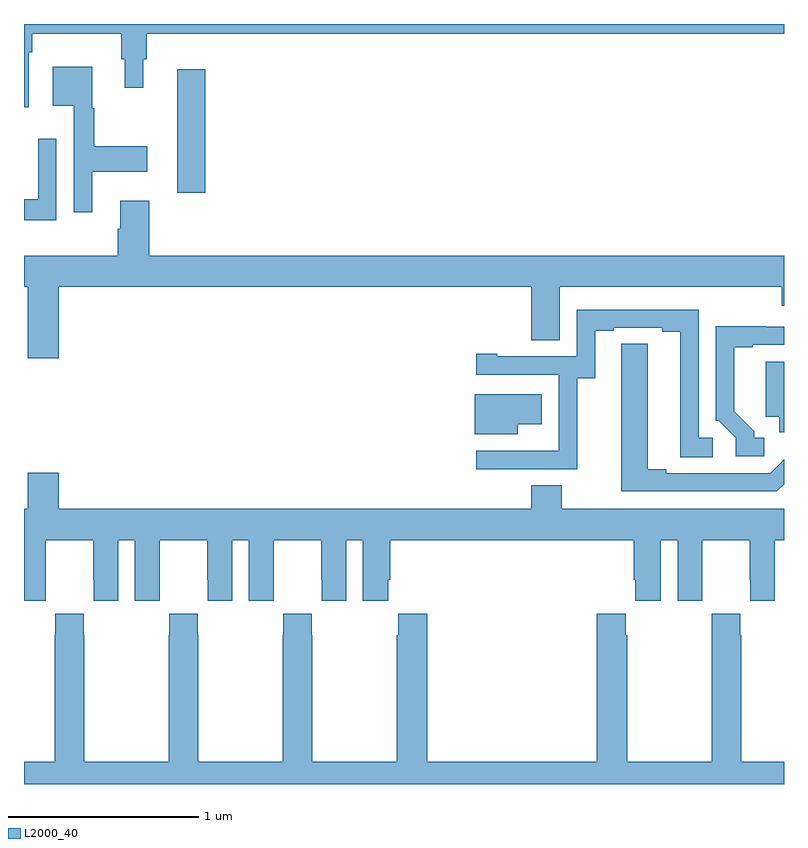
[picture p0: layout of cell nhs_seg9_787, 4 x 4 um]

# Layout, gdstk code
import gdstk
lib = gdstk.Library(unit=1e-6, precision=1e-09)
def R(c, l, rs):  # rectangles x0, y0, x1, y1
    for r in rs: c.add(gdstk.rectangle(r[:2], r[2:], *l))
def P(c, l, *ps):  # polygons
    for p in ps: c.add(gdstk.Polygon(p, *l))
L2000_40 = (2000, 40)

nhs_seg9_787 = lib.new_cell('nhs_seg9_787')
R(nhs_seg9_787, L2000_40, [(153.806,1167.612,153.953,1168.261)])
P(nhs_seg9_787, L2000_40, [(153.024,1168.352),(153.044,1168.352),(153.044,1168.448),(153.511,1168.448),(153.511,1168.314),(153.53,1168.314),(153.53,1168.164),(153.628,1168.164),(153.628,1168.314),(153.647,1168.314),(153.647,1168.448),(157,1168.448),(157,1168.5),(153,1168.5),(153,1168.062),(153.024,1168.062)],
  [(153.358,1167.722),(153.649,1167.722),(153.649,1167.857),(153.37,1167.857),(153.37,1168.056),(153.358,1168.056),(153.358,1168.276),(153.152,1168.276),(153.152,1168.07),(153.261,1168.07),(153.261,1167.51),(153.358,1167.51)],
  [(153.171,1167.895),(153.074,1167.895),(153.074,1167.577),(153,1167.577),(153,1167.468),(153.171,1167.468)],
  [(153.184,1167.116),(155.669,1167.116),(155.669,1166.836),(155.821,1166.836),(155.821,1167.116),(156.989,1167.116),(156.989,1167.018),(157,1167.018),(157,1167.28),(153.659,1167.28),(153.659,1167.571),(153.506,1167.571),(153.506,1167.422),(153.494,1167.422),(153.494,1167.28),(153,1167.28),(153,1167.116),(153.02,1167.116),(153.02,1166.742),(153.184,1166.742)],
  [(155.913,1166.635),(156.007,1166.635),(156.007,1166.886),(156.103,1166.886),(156.103,1166.901),(156.359,1166.901),(156.359,1166.881),(156.455,1166.881),(156.455,1166.221),(156.625,1166.221),(156.625,1166.322),(156.552,1166.322),(156.552,1166.997),(155.91,1166.997),(155.91,1166.751),(155.491,1166.751),(155.491,1166.764),(155.379,1166.764),(155.379,1166.655),(155.814,1166.655),(155.814,1166.254),(155.813,1166.254),(155.813,1166.253),(155.379,1166.253),(155.379,1166.157),(155.913,1166.157)],
  [(156.895,1166.322),(156.844,1166.322),(156.844,1166.357),(156.739,1166.462),(156.739,1166.799),(156.835,1166.799),(156.835,1166.811),(157,1166.811),(157,1166.907),(156.905,1166.907),(156.905,1166.909),(156.642,1166.909),(156.642,1166.412),(156.657,1166.412),(156.747,1166.322),(156.747,1166.226),(156.895,1166.226)],
  [(157,1166.077),(157,1166.209),(156.927,1166.136),(156.379,1166.136),(156.379,1166.156),(156.283,1166.156),(156.283,1166.816),(156.144,1166.816),(156.144,1166.708),(156.143,1166.708),(156.143,1166.04),(156.963,1166.04)],
  [(157,1166.722),(156.905,1166.722),(156.905,1166.432),(156.974,1166.432),(156.974,1166.352),(157,1166.352)],
  [(155.599,1166.393),(155.725,1166.393),(155.725,1166.551),(155.372,1166.551),(155.372,1166.342),(155.599,1166.342)],
  [(153.114,1165.576),(153.115,1165.576),(153.115,1165.784),(153.365,1165.784),(153.365,1165.576),(153.366,1165.576),(153.366,1165.464),(153.496,1165.464),(153.496,1165.784),(153.584,1165.784),(153.584,1165.464),(153.714,1165.464),(153.714,1165.576),(153.715,1165.576),(153.715,1165.784),(153.965,1165.784),(153.965,1165.576),(153.966,1165.576),(153.966,1165.464),(154.096,1165.464),(154.096,1165.784),(154.184,1165.784),(154.184,1165.464),(154.314,1165.464),(154.314,1165.576),(154.315,1165.576),(154.315,1165.784),(154.565,1165.784),(154.565,1165.576),(154.566,1165.576),(154.566,1165.464),(154.696,1165.464),(154.696,1165.784),(154.784,1165.784),(154.784,1165.464),(154.918,1165.464),(154.918,1165.576),(154.928,1165.576),(154.928,1165.784),(156.209,1165.784),(156.209,1165.576),(156.218,1165.576),(156.218,1165.464),(156.352,1165.464),(156.352,1165.784),(156.44,1165.784),(156.44,1165.464),(156.57,1165.464),(156.57,1165.576),(156.571,1165.576),(156.571,1165.784),(156.821,1165.784),(156.821,1165.576),(156.822,1165.576),(156.822,1165.464),(156.952,1165.464),(156.952,1165.784),(157,1165.784),(157,1165.948),(155.829,1165.948),(155.829,1166.072),(155.669,1166.072),(155.669,1165.948),(153.184,1165.948),(153.184,1166.137),(153.02,1166.137),(153.02,1165.948),(153,1165.948),(153,1165.464),(153.114,1165.464)],
  [(157,1164.616),(156.774,1164.616),(156.774,1165.283),(156.771,1165.283),(156.771,1165.396),(156.621,1165.396),(156.621,1165.283),(156.619,1165.283),(156.619,1164.616),(156.174,1164.616),(156.174,1165.283),(156.167,1165.283),(156.167,1165.396),(156.014,1165.396),(156.014,1164.616),(155.123,1164.616),(155.123,1165.396),(154.969,1165.396),(154.969,1165.283),(154.963,1165.283),(154.963,1164.616),(154.518,1164.616),(154.518,1165.283),(154.515,1165.283),(154.515,1165.396),(154.365,1165.396),(154.365,1165.283),(154.363,1165.283),(154.363,1164.616),(153.918,1164.616),(153.918,1165.283),(153.915,1165.283),(153.915,1165.396),(153.765,1165.396),(153.765,1165.283),(153.763,1165.283),(153.763,1164.616),(153.318,1164.616),(153.318,1165.283),(153.315,1165.283),(153.315,1165.396),(153.165,1165.396),(153.165,1165.283),(153.163,1165.283),(153.163,1164.616),(153,1164.616),(153,1164.5),(157,1164.5)])

lib.write_gds('nhs_seg9_787.gds')
